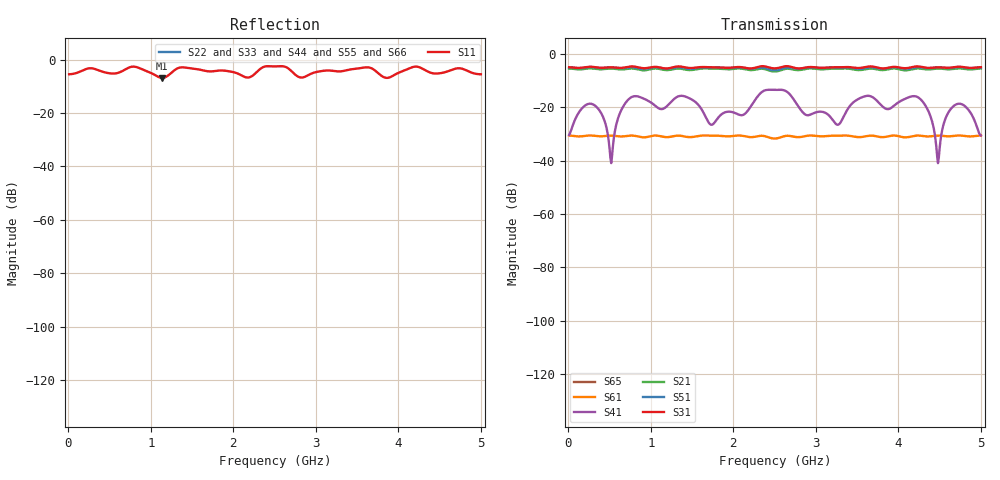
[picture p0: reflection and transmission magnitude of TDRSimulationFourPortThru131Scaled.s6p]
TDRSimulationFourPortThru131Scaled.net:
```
device T1 2 tline zc 60.0 td 5e-10
voltagesource VG1 1
device T2 2 tline zc 55.0 td 1e-09
device D9 2 voltageamplifier gain 1.0 zi 100000000.0 zo 40.0
device T9 2 tline zc 60.0 td 3e-10
device D21 2 voltageamplifier gain 1.0 zi 100000000.0 zo 45.0
device T17 2 tline zc 45.0 td 1.2e-09
device R3 1 R 50.0
device D15 3 directionalcoupler
device D16 3 directionalcoupler
device R4 1 R 50.0
device R7 1 R 50.0
device D19 3 directionalcoupler
device D20 3 directionalcoupler
device R8 1 R 50.0
device T5 2 tline zc 50.0 td 1e-10
device G1 1 ground
connect D16 1 T1 1
connect T1 2 T5 1
output D15 1
connect D15 1 T2 2
connect VG1 1 D9 1
connect T2 1 D9 2
connect D19 1 T9 1
connect T9 2 T5 2
output T17 2
connect T17 2 D20 1
connect D21 1 G1 1
connect T17 1 D21 2
output R3 1
connect R3 1 D15 3
connect D16 2 D15 2
output D16 3
connect D16 3 R4 1
output R7 1
connect R7 1 D19 3
connect D19 2 D20 2
output D20 3
connect D20 3 R8 1
```
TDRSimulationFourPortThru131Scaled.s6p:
# MHz MA S R 50.0
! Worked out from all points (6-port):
!   500 points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, 10 MHz to 5 GHz, reference 50 ohm
!   strongest paths, dB at 10 MHz, 1.26 GHz, 2.51 GHz, 3.76 GHz, 5 GHz:
!     S31: -5.1, -5.2, -5.5, -5.3, -5.1
!     S51: -5.1, -5.4, -6.2, -5.5, -5.1
!     S21: -5.5, -5.9, -6.7, -6.0, -5.5
!     S41: -30.4, -17.6, -13.6, -18.2, -30.6
!     S61: -30.6, -31.0, -31.8, -31.1, -30.6
!     S65: -, -, -, -, -
!   lowest |S11| = -6.9 dB at 1.14 GHz (marker M1), VSWR 2.65, Z = 65.8 - j56 ohm
!   |S11| at or under -10 dB: nowhere
